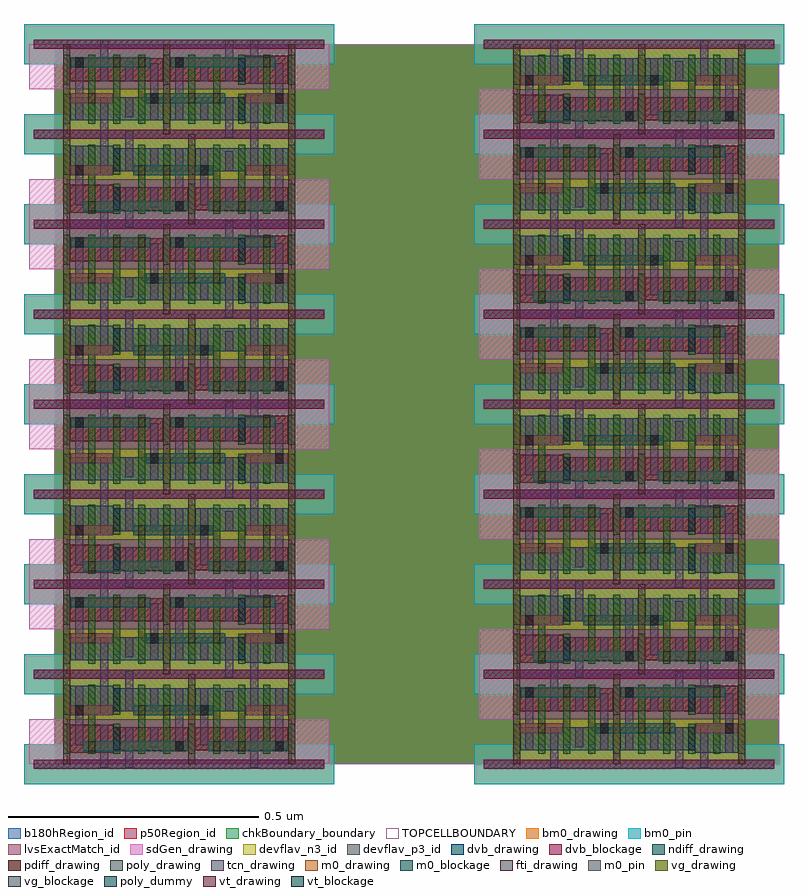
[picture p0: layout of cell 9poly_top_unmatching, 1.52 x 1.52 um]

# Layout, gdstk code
from math import pi, radians
import gdstk
lib = gdstk.Library(unit=1e-6, precision=5e-10)
def R(c, l, rs):  # rectangles x0, y0, x1, y1
    for r in rs: c.add(gdstk.rectangle(r[:2], r[2:], *l))
def A(c, l, x, y, w, h, nx, ny, dx, dy):  # array of equal rectangles
    R(c, l, [(x+i*dx, y+j*dy, x+i*dx+w, y+j*dy+h) for i in range(nx) for j in range(ny)])
def P(c, l, *ps):  # polygons
    for p in ps: c.add(gdstk.Polygon(p, *l))
ndiff_drawing = (1, 0)
poly_drawing = (2, 0)
poly_dummy = (2, 33)
tcn_drawing = (5, 0)
pdiff_drawing = (8, 0)
sdGen_drawing = (11, 0)
vt_drawing = (31, 0)
vt_blockage = (31, 1)
vg_drawing = (32, 0)
vg_blockage = (32, 1)
chkBoundary_boundary = (50, 0)
TOPCELLBOUNDARY = (50, 99)
m0_drawing = (55, 0)
m0_blockage = (55, 1)
m0_pin = (55, 2)
lvsExactMatch_id = (81, 434)
b180hRegion_id = (82, 137)
p50Region_id = (82, 420)
fti_drawing = (184, 0)
devflav_n3_id = (273, 106)
devflav_p3_id = (273, 107)
bm0_drawing = (366, 0)
bm0_pin = (366, 2)
dvb_drawing = (474, 0)
dvb_blockage = (474, 1)

ibmbfm402ad1n03x5 = lib.new_cell('ibmbfm402ad1n03x5')
R(ibmbfm402ad1n03x5, ndiff_drawing, [(0.007,0.028,0.193,0.074)])
P(ibmbfm402ad1n03x5, ndiff_drawing, [(0.443,0.079),(0.443,0.023),(0.357,0.023),(0.357,0.028),(0.207,0.028),(0.207,0.074),(0.357,0.074),(0.357,0.079)])
A(ibmbfm402ad1n03x5, poly_drawing, 0.043, 0.021, 0.014, 0.138, 3, 1, 0.05, 0)
R(ibmbfm402ad1n03x5, poly_drawing, [(-0.007,0.021,0.007,0.081), (0.193,0.021,0.207,0.081), (0.243,0.021,0.257,0.159), (0.293,0.021,0.307,0.159), (0.343,0.021,0.357,0.081), (0.393,0.021,0.407,0.159), (0.443,0.021,0.457,0.081), (-0.007,0.099,0.007,0.159), (0.193,0.099,0.207,0.159), (0.343,0.099,0.357,0.159), (0.443,0.099,0.457,0.159)])
R(ibmbfm402ad1n03x5, poly_dummy, [(0.343,0.028,0.357,0.074), (0.343,0.106,0.357,0.152)])
R(ibmbfm402ad1n03x5, tcn_drawing, [(0.067,-0.007,0.083,0.074), (0.317,-0.007,0.333,0.074), (0.367,-0.007,0.383,0.079), (0.417,0.023,0.433,0.142), (0.017,0.028,0.033,0.154), (0.167,0.028,0.183,0.142), (0.217,0.028,0.233,0.154), (0.267,0.028,0.283,0.068), (0.117,0.034,0.133,0.074), (0.367,0.101,0.383,0.187), (0.067,0.106,0.083,0.187), (0.117,0.106,0.133,0.146), (0.267,0.106,0.283,0.146), (0.317,0.106,0.333,0.187)])
R(ibmbfm402ad1n03x5, pdiff_drawing, [(0.007,0.106,0.193,0.152)])
P(ibmbfm402ad1n03x5, pdiff_drawing, [(0.443,0.157),(0.443,0.101),(0.357,0.101),(0.357,0.106),(0.207,0.106),(0.207,0.152),(0.357,0.152),(0.357,0.157)])
R(ibmbfm402ad1n03x5, sdGen_drawing, [(-0.075,0.09,0.525,0.18)])
R(ibmbfm402ad1n03x5, vt_drawing, [(0.167,0.062,0.183,0.082), (0.417,0.062,0.433,0.082), (0.017,0.134,0.033,0.154), (0.217,0.134,0.233,0.154)])
R(ibmbfm402ad1n03x5, vt_blockage, [(0.167,0.062,0.183,0.082), (0.417,0.062,0.433,0.082), (0.017,0.134,0.033,0.154), (0.217,0.134,0.233,0.154)])
R(ibmbfm402ad1n03x5, vg_drawing, [(0.043,0.062,0.057,0.082), (0.243,0.062,0.257,0.082), (0.293,0.062,0.307,0.082), (0.093,0.134,0.107,0.154), (0.143,0.134,0.157,0.154), (0.393,0.134,0.407,0.154)])
R(ibmbfm402ad1n03x5, vg_blockage, [(0.043,0.062,0.057,0.082), (0.243,0.062,0.257,0.082), (0.293,0.062,0.307,0.082), (0.093,0.134,0.107,0.154), (0.143,0.134,0.157,0.154), (0.393,0.134,0.407,0.154)])
R(ibmbfm402ad1n03x5, chkBoundary_boundary, [(0,0,0.45,0.18)])
R(ibmbfm402ad1n03x5, m0_drawing, [(0.008,0.062,0.092,0.082), (0.158,0.062,0.317,0.082), (0.358,0.062,0.442,0.082), (0.008,0.134,0.167,0.154), (0.208,0.134,0.417,0.154)])
R(ibmbfm402ad1n03x5, m0_blockage, [(0.158,0.062,0.317,0.082), (0.008,0.134,0.167,0.154), (0.208,0.134,0.417,0.154)])
R(ibmbfm402ad1n03x5, m0_pin, [(0.008,0.062,0.092,0.082), (0.358,0.062,0.442,0.082)])
R(ibmbfm402ad1n03x5, lvsExactMatch_id, [(0,0,0.45,0.18)])
R(ibmbfm402ad1n03x5, b180hRegion_id, [(-0.025,0,0.475,0.18)])
R(ibmbfm402ad1n03x5, p50Region_id, [(-0.025,0,0.475,0.18)])
R(ibmbfm402ad1n03x5, fti_drawing, [(-0.007,0,0.007,0.18), (0.193,0,0.207,0.18), (0.443,0,0.457,0.18)])
R(ibmbfm402ad1n03x5, devflav_n3_id, [(0,0,0.45,0.09)])
R(ibmbfm402ad1n03x5, devflav_p3_id, [(0,0.09,0.45,0.18)])
R(ibmbfm402ad1n03x5, bm0_drawing, [(-0.085,-0.04,0.535,0.04), (-0.085,0.14,0.535,0.22)])
R(ibmbfm402ad1n03x5, bm0_pin, [(-0.085,-0.04,0.535,0.04), (-0.085,0.14,0.535,0.22)])
R(ibmbfm402ad1n03x5, dvb_drawing, [(-0.0655,-0.009,0.5155,0.009), (-0.0655,0.171,0.5155,0.189)])
R(ibmbfm402ad1n03x5, dvb_blockage, [(-0.0655,-0.009,0.5155,0.009), (-0.0655,0.171,0.5155,0.189)])
ibmbfm402ad1n03x5.add(gdstk.Label('n2', (0.4,0.09), layer=2, texttype=0))
ibmbfm402ad1n03x5.add(gdstk.Label('n0', (0.1,0.09), layer=2, texttype=0))
ibmbfm402ad1n03x5.add(gdstk.Label('n0', (0.15,0.09), layer=2, texttype=0))
ibmbfm402ad1n03x5.add(gdstk.Label('a', (0.05,0.09), layer=2, texttype=0))
ibmbfm402ad1n03x5.add(gdstk.Label('n1', (0.25,0.09), layer=2, texttype=0))
ibmbfm402ad1n03x5.add(gdstk.Label('n1', (0.3,0.09), layer=2, texttype=0))
ibmbfm402ad1n03x5.add(gdstk.Label('o', (0.425,0.0825), layer=5, texttype=0))
ibmbfm402ad1n03x5.add(gdstk.Label('n1', (0.175,0.085), layer=5, texttype=0))
ibmbfm402ad1n03x5.add(gdstk.Label('n0', (0.025,0.091), layer=5, texttype=0))
ibmbfm402ad1n03x5.add(gdstk.Label('n2', (0.225,0.091), layer=5, texttype=0))
ibmbfm402ad1n03x5.add(gdstk.Label('vcc', (0.375,0.144), layer=5, texttype=0))
ibmbfm402ad1n03x5.add(gdstk.Label('vssx', (0.375,0.036), layer=5, texttype=0))
ibmbfm402ad1n03x5.add(gdstk.Label('vcc', (0.325,0.1465), layer=5, texttype=0))
ibmbfm402ad1n03x5.add(gdstk.Label('vssx', (0.325,0.0335), layer=5, texttype=0))
ibmbfm402ad1n03x5.add(gdstk.Label('n103', (0.275,0.126), layer=5, texttype=0))
ibmbfm402ad1n03x5.add(gdstk.Label('n104', (0.275,0.048), layer=5, texttype=0))
ibmbfm402ad1n03x5.add(gdstk.Label('n101', (0.125,0.126), layer=5, texttype=0))
ibmbfm402ad1n03x5.add(gdstk.Label('n102', (0.125,0.054), layer=5, texttype=0))
ibmbfm402ad1n03x5.add(gdstk.Label('vcc', (0.075,0.1465), layer=5, texttype=0))
ibmbfm402ad1n03x5.add(gdstk.Label('vssx', (0.075,0.0335), layer=5, texttype=0))
ibmbfm402ad1n03x5.add(gdstk.Label('a', (0.05,0.072), layer=55, texttype=0))
ibmbfm402ad1n03x5.add(gdstk.Label('o', (0.4,0.072), layer=55, texttype=0))
ibmbfm402ad1n03x5.add(gdstk.Label('n1', (0.2375,0.072), layer=55, texttype=0))
ibmbfm402ad1n03x5.add(gdstk.Label('n0', (0.0875,0.144), layer=55, texttype=0))
ibmbfm402ad1n03x5.add(gdstk.Label('n2', (0.3125,0.144), layer=55, texttype=0))
ibmbfm402ad1n03x5.add(gdstk.Label('a', (0.05,0.072), layer=55, texttype=0))
ibmbfm402ad1n03x5.add(gdstk.Label('o', (0.4,0.072), layer=55, texttype=0))
ibmbfm402ad1n03x5.add(gdstk.Label('a', (0.05,0.072), layer=55, texttype=2))
ibmbfm402ad1n03x5.add(gdstk.Label('o', (0.4,0.072), layer=55, texttype=2))
ibmbfm402ad1n03x5.add(gdstk.Label('vssx', (0.225,0), layer=366, texttype=0))
ibmbfm402ad1n03x5.add(gdstk.Label('vcc', (0.225,0.18), layer=366, texttype=0))
ibmbfm402ad1n03x5.add(gdstk.Label('vcc', (0.225,0.18), layer=366, texttype=0))
ibmbfm402ad1n03x5.add(gdstk.Label('vssx', (0.225,0), layer=366, texttype=0))
ibmbfm402ad1n03x5.add(gdstk.Label('vssx', (0.225,0), layer=366, texttype=2))
ibmbfm402ad1n03x5.add(gdstk.Label('vcc', (0.225,0.18), layer=366, texttype=2))

c_9poly_top_unmatching = lib.new_cell('9poly_top_unmatching')
R(c_9poly_top_unmatching, chkBoundary_boundary, [(0,0,1.45,1.44)])
R(c_9poly_top_unmatching, TOPCELLBOUNDARY, [(0,0,1.45,1.44)])
R(c_9poly_top_unmatching, b180hRegion_id, [(0,0,1.45,1.44)])
R(c_9poly_top_unmatching, p50Region_id, [(0,0,1.45,1.44)])
c_9poly_top_unmatching.add(gdstk.Reference(ibmbfm402ad1n03x5, (0.025,0.54)))
c_9poly_top_unmatching.add(gdstk.Reference(ibmbfm402ad1n03x5, (0.025,0.18)))
c_9poly_top_unmatching.add(gdstk.Reference(ibmbfm402ad1n03x5, (0.925,0)))
c_9poly_top_unmatching.add(gdstk.Reference(ibmbfm402ad1n03x5, (1.375,0.36), rotation=pi))
c_9poly_top_unmatching.add(gdstk.Reference(ibmbfm402ad1n03x5, (0.475,0.18), rotation=pi))
c_9poly_top_unmatching.add(gdstk.Reference(ibmbfm402ad1n03x5, (0.925,0.36)))
c_9poly_top_unmatching.add(gdstk.Reference(ibmbfm402ad1n03x5, (1.375,0.72), rotation=pi))
c_9poly_top_unmatching.add(gdstk.Reference(ibmbfm402ad1n03x5, (0.475,0.54), rotation=pi))
c_9poly_top_unmatching.add(gdstk.Reference(ibmbfm402ad1n03x5, (0.025,0.9)))
c_9poly_top_unmatching.add(gdstk.Reference(ibmbfm402ad1n03x5, (0.925,0.72)))
c_9poly_top_unmatching.add(gdstk.Reference(ibmbfm402ad1n03x5, (1.375,1.08), rotation=pi))
c_9poly_top_unmatching.add(gdstk.Reference(ibmbfm402ad1n03x5, (0.475,0.9), rotation=pi))
c_9poly_top_unmatching.add(gdstk.Reference(ibmbfm402ad1n03x5, (0.925,1.08)))
c_9poly_top_unmatching.add(gdstk.Reference(ibmbfm402ad1n03x5, (1.375,1.44), rotation=pi))
c_9poly_top_unmatching.add(gdstk.Reference(ibmbfm402ad1n03x5, (0.475,1.26), rotation=pi))
c_9poly_top_unmatching.add(gdstk.Reference(ibmbfm402ad1n03x5, (0.025,1.26)))

lib.write_gds('9poly_top_unmatching.gds')
